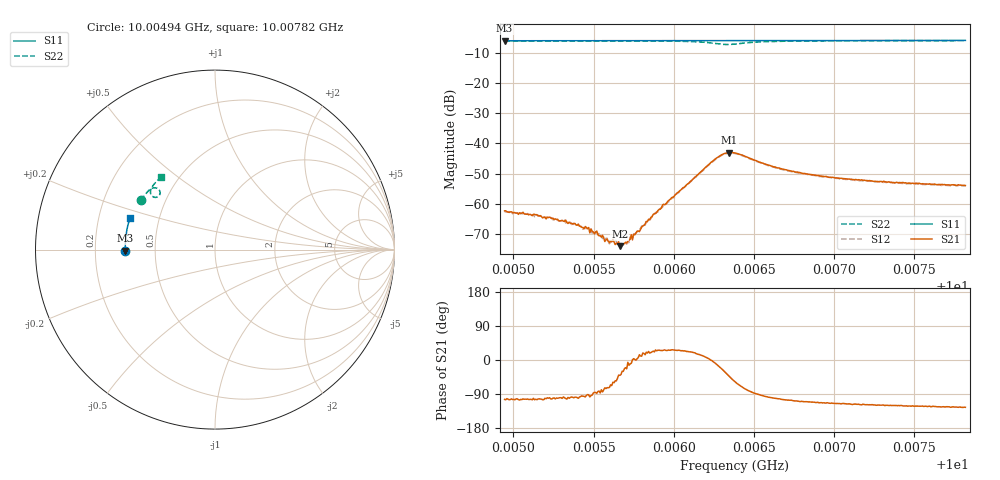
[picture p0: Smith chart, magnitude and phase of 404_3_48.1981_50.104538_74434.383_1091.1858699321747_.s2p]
#  HZ  S  RI  R  50.00
! Rohde & Schwarz Vector Network Analyzer
! Rohde-Schwarz,ZNB20-2Port,1311601062101988,3.16
! Created: UTC 3/20/2024, 11:54:09 AM
! freq[Hz]  re:S11  im:S11  re:S21  im:S21  re:S12  im:S12  re:S22  im:S22
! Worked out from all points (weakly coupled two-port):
!   401 points, 10.00494 GHz to 10.00782 GHz, reference 50 ohm
!   highest |S21| = -43.04 dB at 10.00635 GHz (marker M1); lowest = -74.0 dB at 10.00566 GHz (marker M2)
!   lowest |S11| = -6.0 dB at 10.00494 GHz (marker M3), VSWR 3.00, Z = 16.7 - j0.268 ohm
!   |S11| at or under -10 dB: nowhere
!   |S22| runs from -7.3 to -6.0 dB; largest |S21 - S12| = 0.00041
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1.0004945e10  -0.4994 -0.00603  -0.000185 -0.000741  -0.000148 -0.000707  -0.4114 0.2742
1.0005139e10  -0.4998 0.00672  -0.000152 -0.000639  -0.000121 -0.000615  -0.4042 0.2857
1.0005218e10  -0.4998 0.0119  -0.000111 -0.000581  -0.000105 -0.000588  -0.4011 0.2905
1.000539e10  -0.4998 0.0231  -6.34e-05 -0.000441  -5.91e-05 -0.000435  -0.3942 0.3006
1.0005426e10  -0.4998 0.0255  -3.28e-05 -0.000406  -2.27e-05 -0.000417  -0.3926 0.3028
1.0005455e10  -0.4997 0.0273  -2.3e-05 -0.000404  -5.54e-07 -0.000395  -0.3911 0.3046
1.000552e10  -0.4997 0.0315  1.27e-05 -0.000353  3.08e-05 -0.000328  -0.3882 0.3085
1.0005585e10  -0.4993 0.0357  7.57e-05 -0.000247  8.45e-05 -0.000255  -0.3852 0.3124
1.0005599e10  -0.4995 0.0367  6.93e-05 -0.000216  9.14e-05 -0.000198  -0.3844 0.3133
1.0005628e10  -0.4994 0.0384  0.000117 -0.000201  0.000127 -0.000211  -0.3829 0.3151
1.0005664e10  -0.4992 0.0408  0.000151 -0.000129  0.000175 -0.000143  -0.381 0.3173
1.0005678e10  -0.4992 0.0418  0.00018 -0.000103  0.000183 -0.000103  -0.3802 0.3182
1.0005707e10  -0.499 0.0435  0.000207 -8.82e-05  0.00021 -5.04e-05  -0.3787 0.3199
1.0005908e10  -0.498 0.0567  0.000722 0.000353  0.000702 0.000375  -0.3651 0.3331
1.0006246e10  -0.4955 0.0784  0.00515 -0.000387  0.00502 -0.000129  -0.3111 0.3328
1.0006303e10  -0.4949 0.0817  0.00594 -0.00274  0.00598 -0.00243  -0.3064 0.3112
1.0006346e10  -0.4945 0.0843  0.00514 -0.00481  0.00529 -0.00446  -0.3166 0.2957
1.0006382e10  -0.4943 0.0865  0.00374 -0.00585  0.00399 -0.00553  -0.3307 0.2908
1.0006634e10  -0.4922 0.1026  -0.000781 -0.00397  -0.000586 -0.0039  -0.3586 0.3307
1.0006864e10  -0.4894 0.1172  -0.00109 -0.00282  -0.000948 -0.00282  -0.3486 0.3527
1.0007346e10  -0.4822 0.1475  -0.00115 -0.00199  -0.001 -0.002  -0.3244 0.3814
1.000782e10  -0.4733 0.1767  -0.00115 -0.00165  -0.00105 -0.00167  -0.3002 0.4039
